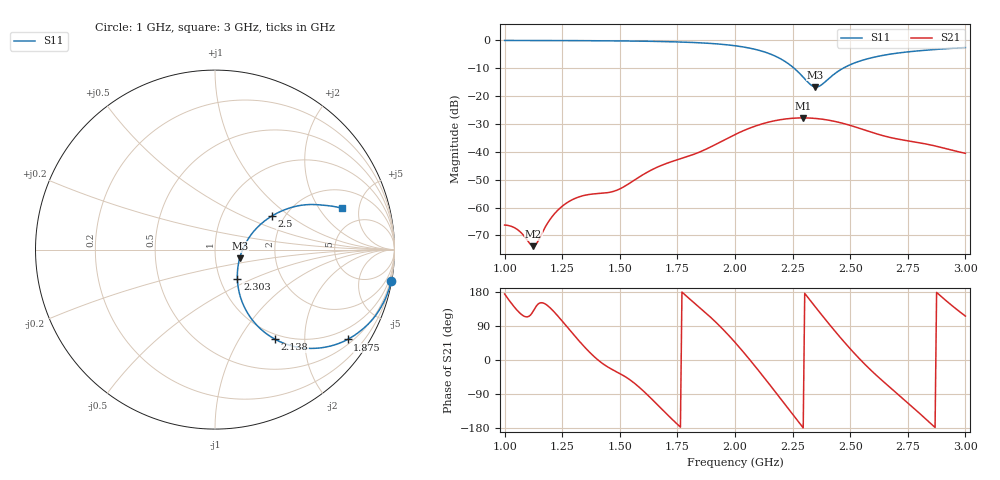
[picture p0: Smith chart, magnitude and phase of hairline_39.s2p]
! TOUCHSTONE file generated by CST MICROWAVE STUDIO
! Date and time: Tue Mar 18 20:31:53 2025
! Project name: hairline.cst
! Parameters = {B=12.5; D=160; F=15; Feed=2.85625; Fracture=2; L=100; M=30; R=0.384908; S=1.5; Theta=270; length=57.125; wave=114.25}
! Header version: 2024
! Port assignment regex: !\s*Touchstone port\s*([0-9]+)\s*=\s*(CST MWS port|CST DES external port|CST DES block port)\s*(.+)\s* \(\"(.*)\"\)(\s*mode\s*([0-9]+))?.*
! Touchstone port assignment:
! Touchstone port 1 = CST MWS port 1 ("")
! Touchstone port 2 = CST MWS port 2 ("")
# GHz S DB R 50
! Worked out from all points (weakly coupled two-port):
!   305 points, 1 GHz to 3 GHz, reference 50 ohm
!   highest |S21| = -27.82 dB at 2.296 GHz (marker M1); lowest = -73.9 dB at 1.125 GHz (marker M2)
!   lowest |S11| = -16.7 dB at 2.349 GHz (marker M3), VSWR 1.34, Z = 65.6 - j6.38 ohm
!   |S11| at or under -10 dB: 2.257 GHz to 2.469 GHz (212.5 MHz wide, 8.99 % of centre)
!   S12 and S22 are empty: the file has one direction only
!   S11 on the Smith chart (normalised r, x): 1 GHz: 0, -11; 1.875 GHz: 0.64, -3.14; 2.138 GHz: 0.92, -1.44; 2.303 GHz: 1.21, -0.41; 2.5 GHz: 1.72, +0.74; 3 GHz: 3.24, +3.34
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1  -0.02 -10.0  -66.30 174.2  -200.00 0.0  -200.00 0.0
1.05921  -0.03 -10.8  -68.14 128.0  -200.00 0.0  -200.00 0.0
1.125  -0.04 -11.8  -73.89 129.7  -200.00 0.0  -200.00 0.0
1.13816  -0.04 -12.0  -73.03 142.7  -200.00 0.0  -200.00 0.0
1.18421  -0.05 -12.7  -65.91 144.6  -200.00 0.0  -200.00 0.0
1.22368  -0.06 -13.4  -61.57 121.2  -200.00 0.0  -200.00 0.0
1.27632  -0.07 -14.3  -58.00 83.7  -200.00 0.0  -200.00 0.0
1.33553  -0.09 -15.4  -55.87 41.9  -200.00 0.0  -200.00 0.0
1.48684  -0.18 -18.9  -53.80 -31.5  -200.00 0.0  -200.00 0.0
1.67105  -0.38 -24.5  -45.21 -122.7  -200.00 0.0  -200.00 0.0
1.875  -0.99 -34.1  -39.03 123.3  -200.00 0.0  -200.00 0.0
2  -1.92 -43.1  -33.80 46.6  -200.00 0.0  -200.00 0.0
2.13816  -4.43 -56.2  -29.50 -55.4  -200.00 0.0  -200.00 0.0
2.22368  -7.91 -62.8  -28.16 -122.3  -200.00 0.0  -200.00 0.0
2.29605  -13.20 -55.0  -27.82 -179.1  -200.00 0.0  -200.00 0.0
2.30263  -13.78 -52.5  -27.83 175.8  -200.00 0.0  -200.00 0.0
2.33553  -16.33 -31.2  -27.93 150.2  -200.00 0.0  -200.00 0.0
2.34868  -16.74 -19.1  -28.02 140.1  -200.00 0.0  -200.00 0.0
2.36842  -16.33 -1.2  -28.18 125.0  -200.00 0.0  -200.00 0.0
2.5  -8.73 30.6  -30.52 29.6  -200.00 0.0  -200.00 0.0
2.67105  -4.97 26.3  -34.81 -71.3  -200.00 0.0  -200.00 0.0
3  -2.55 17.9  -40.54 115.9  -200.00 0.0  -200.00 0.0
